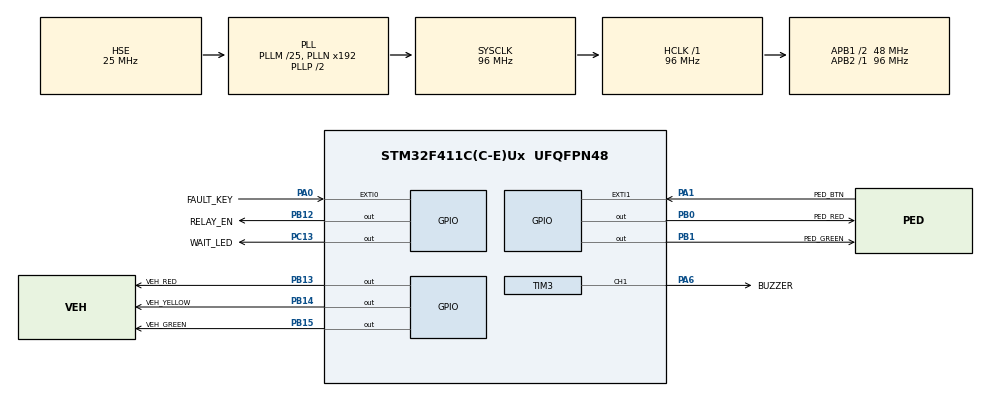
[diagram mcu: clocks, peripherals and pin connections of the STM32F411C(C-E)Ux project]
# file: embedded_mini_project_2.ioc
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IWDG.Prescaler=IWDG_PRESCALER_32
IWDG.Reload=500
Mcu.Family=STM32F4
Mcu.Name=STM32F411C(C-E)Ux
Mcu.Package=UFQFPN48
NVIC.EXTI0_IRQn=true\:2\:0\:true\:false\:true\:true\:true\:true
NVIC.EXTI1_IRQn=true\:2\:0\:true\:false\:true\:true\:true\:true
NVIC.PriorityGroup=NVIC_PRIORITYGROUP_4
NVIC.TIM2_IRQn=true\:1\:0\:true\:false\:true\:true\:true\:true
PA0-WKUP.GPIO_Label=FAULT_KEY
PA0-WKUP.GPIO_ModeDefaultEXTI=GPIO_MODE_IT_FALLING
PA0-WKUP.GPIO_PuPd=GPIO_PULLUP
PA0-WKUP.Signal=GPXTI0
PA1.GPIO_Label=PED_BTN
PA1.GPIO_ModeDefaultEXTI=GPIO_MODE_IT_FALLING
PA1.GPIO_PuPd=GPIO_PULLUP
PA1.Signal=GPXTI1
PA13.Mode=Serial_Wire
PA13.Signal=SYS_JTMS-SWDIO
PA14.Mode=Serial_Wire
PA14.Signal=SYS_JTCK-SWCLK
PA6.GPIO_Label=BUZZER
PA6.Signal=S_TIM3_CH1
PB0.GPIO_Label=PED_RED
PB0.Signal=GPIO_Output
PB1.GPIO_Label=PED_GREEN
PB1.Signal=GPIO_Output
PB12.GPIO_Label=RELAY_EN
PB12.GPIO_ModeDefaultOutputPP=GPIO_MODE_OUTPUT_OD
PB12.GPIO_PuPd=GPIO_NOPULL
PB12.PinState=GPIO_PIN_SET
PB12.Signal=GPIO_Output
PB13.GPIO_Label=VEH_RED
PB13.Signal=GPIO_Output
PB14.GPIO_Label=VEH_YELLOW
PB14.Signal=GPIO_Output
PB15.GPIO_Label=VEH_GREEN
PB15.Signal=GPIO_Output
PC13-ANTI_TAMP.GPIO_Label=WAIT_LED
PC13-ANTI_TAMP.PinState=GPIO_PIN_SET
PC13-ANTI_TAMP.Signal=GPIO_Output
PH0\ -\ OSC_IN.Mode=HSE-External-Oscillator
PH0\ -\ OSC_IN.Signal=RCC_OSC_IN
PH1\ -\ OSC_OUT.Mode=HSE-External-Oscillator
PH1\ -\ OSC_OUT.Signal=RCC_OSC_OUT
ProjectManager.HeapSize=0x200
ProjectManager.StackSize=0x400
ProjectManager.TargetToolchain=STM32CubeIDE
RCC.48MHZClocksFreq_Value=48000000
RCC.AHBFreq_Value=96000000
RCC.APB1CLKDivider=RCC_HCLK_DIV2
RCC.APB1Freq_Value=48000000
RCC.APB1TimFreq_Value=96000000
RCC.APB2Freq_Value=96000000
RCC.APB2TimFreq_Value=96000000
RCC.CortexFreq_Value=96000000
RCC.HCLKFreq_Value=96000000
RCC.HSE_VALUE=25000000
RCC.HSI_VALUE=16000000
RCC.LSE_VALUE=32768
RCC.PLLM=25
RCC.PLLSourceVirtual=RCC_PLLSOURCE_HSE
RCC.SYSCLKFreq_VALUE=96000000
RCC.SYSCLKSource=RCC_SYSCLKSOURCE_PLLCLK
RCC.VCOOutputFreq_Value=192000000
SH.S_TIM3_CH1.0=TIM3_CH1,PWM Generation1 CH1
TIM2.AutoReloadPreload=TIM_AUTORELOAD_PRELOAD_ENABLE
TIM2.Period=1000-1
TIM2.Prescaler=96-1
TIM3.Channel-PWM\ Generation1\ CH1=TIM_CHANNEL_1
TIM3.Period=1000-1
TIM3.Prescaler=96-1
VP_IWDG_VS_IWDG.Mode=IWDG_Activate
VP_TIM2_VS_ClockSourceINT.Mode=Internal
board=custom

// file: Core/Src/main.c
/* USER CODE BEGIN Header */
/**
  ******************************************************************************
  * @file           : main.c
  * @brief          : Main program body
  ******************************************************************************
  * @attention
  *
  * Copyright (c) 2026 STMicroelectronics.
  * All rights reserved.
  *
  * This software is licensed under terms that can be found in the LICENSE file
  * in the root directory of this software component.
  * If no LICENSE file comes with this software, it is provided AS-IS.
  *
  ******************************************************************************
  */
/* USER CODE END Header */
#include "main.h"

/* USER CODE BEGIN Includes */
#include <stdbool.h>

#include "button.h"
#include "buzzer.h"
#include "traffic_light.h"
/* USER CODE END Includes */

IWDG_HandleTypeDef hiwdg;

TIM_HandleTypeDef htim2;
TIM_HandleTypeDef htim3;

/* USER CODE BEGIN PV */
static button_t s_btn_pedestrian;
static button_t s_btn_fault;
/* USER CODE END PV */

void SystemClock_Config(void);
static void MX_GPIO_Init(void);
static void MX_IWDG_Init(void);
static void MX_TIM2_Init(void);
static void MX_TIM3_Init(void);

/* USER CODE BEGIN 0 */
static void on_pedestrian_press(void)
{
	tl_request_crossing();
}

static void on_fault_press(void)
{
	tl_set_fault(TL_FAULT_ERROR);
}
/* USER CODE END 0 */

int main(void)
{

  /* MCU Configuration--------------------------------------------------------*/

  /* Reset of all peripherals, Initializes the Flash interface and the Systick. */
  HAL_Init();

  /* Configure the system clock */
  SystemClock_Config();

  /* Initialize all configured peripherals */
  MX_GPIO_Init();
  MX_IWDG_Init();
  MX_TIM2_Init();
  MX_TIM3_Init();
  /* USER CODE BEGIN 2 */
  const bool reset_by_watchdog = (__HAL_RCC_GET_FLAG(RCC_FLAG_IWDGRST) != 0U);
  __HAL_RCC_CLEAR_RESET_FLAGS();
  __HAL_DBGMCU_FREEZE_IWDG();

  button_init(&s_btn_pedestrian, PED_BTN_GPIO_Port, PED_BTN_Pin, on_pedestrian_press);
  button_init(&s_btn_fault, FAULT_KEY_GPIO_Port, FAULT_KEY_Pin, on_fault_press);
  buzzer_init(&htim3, TIM_CHANNEL_1);

  tl_init(HAL_GetTick());

  if (reset_by_watchdog) {
   	tl_set_fault(TL_FAULT_WATCHDOG);
  }

  (void)HAL_TIM_Base_Start_IT(&htim2);
  /* USER CODE END 2 */

  /* Infinite loop */
  while (1)
  {

    /* USER CODE BEGIN 3 */
	const uint32_t now = HAL_GetTick();

	tl_update(now);
	buzzer_update(now);

	(void)HAL_IWDG_Refresh(&hiwdg);
  }
  /* USER CODE END 3 */
}

void SystemClock_Config(void)
{
  RCC_OscInitTypeDef RCC_OscInitStruct = {0};
  RCC_ClkInitTypeDef RCC_ClkInitStruct = {0};

  /** Configure the main internal regulator output voltage
  */
  __HAL_RCC_PWR_CLK_ENABLE();
  __HAL_PWR_VOLTAGESCALING_CONFIG(PWR_REGULATOR_VOLTAGE_SCALE1);

  /** Initializes the RCC Oscillators according to the specified parameters
  * in the RCC_OscInitTypeDef structure.
  */
  RCC_OscInitStruct.OscillatorType = RCC_OSCILLATORTYPE_LSI|RCC_OSCILLATORTYPE_HSE;
  RCC_OscInitStruct.HSEState = RCC_HSE_ON;
  RCC_OscInitStruct.LSIState = RCC_LSI_ON;
  RCC_OscInitStruct.PLL.PLLState = RCC_PLL_ON;
  RCC_OscInitStruct.PLL.PLLSource = RCC_PLLSOURCE_HSE;
  RCC_OscInitStruct.PLL.PLLM = 25;
  RCC_OscInitStruct.PLL.PLLN = 192;
  RCC_OscInitStruct.PLL.PLLP = RCC_PLLP_DIV2;
  RCC_OscInitStruct.PLL.PLLQ = 4;
  if (HAL_RCC_OscConfig(&RCC_OscInitStruct) != HAL_OK)
  {
    Error_Handler();
  }

  /** Initializes the CPU, AHB and APB buses clocks
  */
  RCC_ClkInitStruct.ClockType = RCC_CLOCKTYPE_HCLK|RCC_CLOCKTYPE_SYSCLK
                              |RCC_CLOCKTYPE_PCLK1|RCC_CLOCKTYPE_PCLK2;
  RCC_ClkInitStruct.SYSCLKSource = RCC_SYSCLKSOURCE_PLLCLK;
  RCC_ClkInitStruct.AHBCLKDivider = RCC_SYSCLK_DIV1;
  RCC_ClkInitStruct.APB1CLKDivider = RCC_HCLK_DIV2;
  RCC_ClkInitStruct.APB2CLKDivider = RCC_HCLK_DIV1;

  if (HAL_RCC_ClockConfig(&RCC_ClkInitStruct, FLASH_LATENCY_3) != HAL_OK)
  {
    Error_Handler();
  }
}

static void MX_IWDG_Init(void)
{

  hiwdg.Instance = IWDG;
  hiwdg.Init.Prescaler = IWDG_PRESCALER_32;
  hiwdg.Init.Reload = 500;
  if (HAL_IWDG_Init(&hiwdg) != HAL_OK)
  {
    Error_Handler();
  }

}

static void MX_TIM2_Init(void)
{

  TIM_ClockConfigTypeDef sClockSourceConfig = {0};
  TIM_MasterConfigTypeDef sMasterConfig = {0};

  htim2.Instance = TIM2;
  htim2.Init.Prescaler = 96-1;
  htim2.Init.CounterMode = TIM_COUNTERMODE_UP;
  htim2.Init.Period = 1000-1;
  htim2.Init.ClockDivision = TIM_CLOCKDIVISION_DIV1;
  htim2.Init.AutoReloadPreload = TIM_AUTORELOAD_PRELOAD_ENABLE;
  if (HAL_TIM_Base_Init(&htim2) != HAL_OK)
  {
    Error_Handler();
  }
  sClockSourceConfig.ClockSource = TIM_CLOCKSOURCE_INTERNAL;
  if (HAL_TIM_ConfigClockSource(&htim2, &sClockSourceConfig) != HAL_OK)
  {
    Error_Handler();
  }
  sMasterConfig.MasterOutputTrigger = TIM_TRGO_RESET;
  sMasterConfig.MasterSlaveMode = TIM_MASTERSLAVEMODE_DISABLE;
  if (HAL_TIMEx_MasterConfigSynchronization(&htim2, &sMasterConfig) != HAL_OK)
  {
    Error_Handler();
  }

}

static void MX_TIM3_Init(void)
{

  TIM_MasterConfigTypeDef sMasterConfig = {0};
  TIM_OC_InitTypeDef sConfigOC = {0};

  htim3.Instance = TIM3;
  htim3.Init.Prescaler = 96-1;
  htim3.Init.CounterMode = TIM_COUNTERMODE_UP;
  htim3.Init.Period = 1000-1;
  htim3.Init.ClockDivision = TIM_CLOCKDIVISION_DIV1;
  htim3.Init.AutoReloadPreload = TIM_AUTORELOAD_PRELOAD_DISABLE;
  if (HAL_TIM_PWM_Init(&htim3) != HAL_OK)
  {
    Error_Handler();
  }
  sMasterConfig.MasterOutputTrigger = TIM_TRGO_RESET;
  sMasterConfig.MasterSlaveMode = TIM_MASTERSLAVEMODE_DISABLE;
  if (HAL_TIMEx_MasterConfigSynchronization(&htim3, &sMasterConfig) != HAL_OK)
  {
    Error_Handler();
  }
  sConfigOC.OCMode = TIM_OCMODE_PWM1;
  sConfigOC.Pulse = 0;
  sConfigOC.OCPolarity = TIM_OCPOLARITY_HIGH;
  sConfigOC.OCFastMode = TIM_OCFAST_DISABLE;
  if (HAL_TIM_PWM_ConfigChannel(&htim3, &sConfigOC, TIM_CHANNEL_1) != HAL_OK)
  {
    Error_Handler();
  }
  HAL_TIM_MspPostInit(&htim3);

}

static void MX_GPIO_Init(void)
{
  GPIO_InitTypeDef GPIO_InitStruct = {0};

  /* GPIO Ports Clock Enable */
  __HAL_RCC_GPIOC_CLK_ENABLE();
  __HAL_RCC_GPIOH_CLK_ENABLE();
  __HAL_RCC_GPIOA_CLK_ENABLE();
  __HAL_RCC_GPIOB_CLK_ENABLE();

  /*Configure GPIO pin Output Level */
  HAL_GPIO_WritePin(WAIT_LED_GPIO_Port, WAIT_LED_Pin, GPIO_PIN_SET);

  /*Configure GPIO pin Output Level */
  HAL_GPIO_WritePin(GPIOB, PED_RED_Pin|PED_GREEN_Pin|VEH_RED_Pin|VEH_YELLOW_Pin
                          |VEH_GREEN_Pin, GPIO_PIN_RESET);

  /*Configure GPIO pin Output Level */
  HAL_GPIO_WritePin(RELAY_EN_GPIO_Port, RELAY_EN_Pin, GPIO_PIN_SET);

  /*Configure GPIO pin : WAIT_LED_Pin */
  GPIO_InitStruct.Pin = WAIT_LED_Pin;
  GPIO_InitStruct.Mode = GPIO_MODE_OUTPUT_PP;
  GPIO_InitStruct.Pull = GPIO_NOPULL;
  GPIO_InitStruct.Speed = GPIO_SPEED_FREQ_LOW;
  HAL_GPIO_Init(WAIT_LED_GPIO_Port, &GPIO_InitStruct);

  /*Configure GPIO pins : FAULT_KEY_Pin PED_BTN_Pin */
  GPIO_InitStruct.Pin = FAULT_KEY_Pin|PED_BTN_Pin;
  GPIO_InitStruct.Mode = GPIO_MODE_IT_FALLING;
  GPIO_InitStruct.Pull = GPIO_PULLUP;
  HAL_GPIO_Init(GPIOA, &GPIO_InitStruct);

  /*Configure GPIO pins : PED_RED_Pin PED_GREEN_Pin VEH_RED_Pin VEH_YELLOW_Pin
                           VEH_GREEN_Pin */
  GPIO_InitStruct.Pin = PED_RED_Pin|PED_GREEN_Pin|VEH_RED_Pin|VEH_YELLOW_Pin
                          |VEH_GREEN_Pin;
  GPIO_InitStruct.Mode = GPIO_MODE_OUTPUT_PP;
  GPIO_InitStruct.Pull = GPIO_NOPULL;
  GPIO_InitStruct.Speed = GPIO_SPEED_FREQ_LOW;
  HAL_GPIO_Init(GPIOB, &GPIO_InitStruct);

  /*Configure GPIO pin : RELAY_EN_Pin */
  GPIO_InitStruct.Pin = RELAY_EN_Pin;
  GPIO_InitStruct.Mode = GPIO_MODE_OUTPUT_OD;
  GPIO_InitStruct.Pull = GPIO_NOPULL;
  GPIO_InitStruct.Speed = GPIO_SPEED_FREQ_LOW;
  HAL_GPIO_Init(RELAY_EN_GPIO_Port, &GPIO_InitStruct);

  /* EXTI interrupt init*/
  HAL_NVIC_SetPriority(EXTI0_IRQn, 2, 0);
  HAL_NVIC_EnableIRQ(EXTI0_IRQn);

  HAL_NVIC_SetPriority(EXTI1_IRQn, 2, 0);
  HAL_NVIC_EnableIRQ(EXTI1_IRQn);

}

/* USER CODE BEGIN 4 */
void HAL_TIM_PeriodElapsedCallback(TIM_HandleTypeDef *htim)
{
	if (htim->Instance == TIM2) {
		const uint32_t now = HAL_GetTick();

		button_tick(&s_btn_pedestrian, now);
		button_tick(&s_btn_fault, now);
	}
}

void HAL_GPIO_EXTI_Callback(uint16_t GPIO_Pin)
{
	if (GPIO_Pin == PED_BTN_Pin) {
		button_on_edge_irq(&s_btn_pedestrian);
	} else if (GPIO_Pin == FAULT_KEY_Pin) {
		button_on_edge_irq(&s_btn_fault);
	} else {
		/* not our pin */
	}
}
/* USER CODE END 4 */

void Error_Handler(void)
{
  __disable_irq();
  while (1)
  {
  }
}
